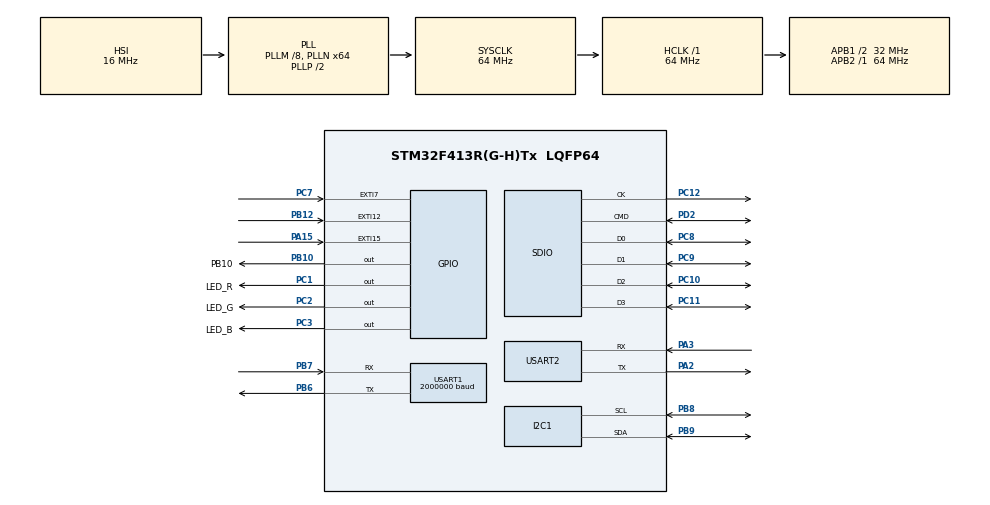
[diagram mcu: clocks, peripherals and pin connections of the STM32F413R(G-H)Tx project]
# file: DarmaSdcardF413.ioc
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Dma.Request0=USART1_RX
Dma.Request1=USART1_TX
Dma.Request2=SDIO_RX
Dma.Request3=SDIO_TX
Dma.Request4=USART2_RX
Dma.Request5=USART2_TX
Dma.SDIO_RX.2.Direction=DMA_PERIPH_TO_MEMORY
Dma.SDIO_RX.2.FIFOMode=DMA_FIFOMODE_ENABLE
Dma.SDIO_RX.2.FIFOThreshold=DMA_FIFO_THRESHOLD_FULL
Dma.SDIO_RX.2.Instance=DMA2_Stream3
Dma.SDIO_RX.2.MemBurst=DMA_MBURST_INC4
Dma.SDIO_RX.2.MemDataAlignment=DMA_MDATAALIGN_WORD
Dma.SDIO_RX.2.MemInc=DMA_MINC_ENABLE
Dma.SDIO_RX.2.Mode=DMA_PFCTRL
Dma.SDIO_RX.2.PeriphBurst=DMA_PBURST_INC4
Dma.SDIO_RX.2.PeriphDataAlignment=DMA_PDATAALIGN_WORD
Dma.SDIO_RX.2.PeriphInc=DMA_PINC_DISABLE
Dma.SDIO_RX.2.Priority=DMA_PRIORITY_LOW
Dma.SDIO_TX.3.Direction=DMA_MEMORY_TO_PERIPH
Dma.SDIO_TX.3.FIFOMode=DMA_FIFOMODE_ENABLE
Dma.SDIO_TX.3.FIFOThreshold=DMA_FIFO_THRESHOLD_FULL
Dma.SDIO_TX.3.Instance=DMA2_Stream6
Dma.SDIO_TX.3.MemBurst=DMA_MBURST_INC4
Dma.SDIO_TX.3.MemDataAlignment=DMA_MDATAALIGN_WORD
Dma.SDIO_TX.3.MemInc=DMA_MINC_ENABLE
Dma.SDIO_TX.3.Mode=DMA_PFCTRL
Dma.SDIO_TX.3.PeriphBurst=DMA_PBURST_INC4
Dma.SDIO_TX.3.PeriphDataAlignment=DMA_PDATAALIGN_WORD
Dma.SDIO_TX.3.PeriphInc=DMA_PINC_DISABLE
Dma.SDIO_TX.3.Priority=DMA_PRIORITY_LOW
Dma.USART1_RX.0.Direction=DMA_PERIPH_TO_MEMORY
Dma.USART1_RX.0.FIFOMode=DMA_FIFOMODE_DISABLE
Dma.USART1_RX.0.Instance=DMA2_Stream2
Dma.USART1_RX.0.MemDataAlignment=DMA_MDATAALIGN_BYTE
Dma.USART1_RX.0.MemInc=DMA_MINC_ENABLE
Dma.USART1_RX.0.Mode=DMA_CIRCULAR
Dma.USART1_RX.0.PeriphDataAlignment=DMA_PDATAALIGN_BYTE
Dma.USART1_RX.0.PeriphInc=DMA_PINC_DISABLE
Dma.USART1_RX.0.Priority=DMA_PRIORITY_VERY_HIGH
Dma.USART1_TX.1.Direction=DMA_MEMORY_TO_PERIPH
Dma.USART1_TX.1.FIFOMode=DMA_FIFOMODE_DISABLE
Dma.USART1_TX.1.Instance=DMA2_Stream7
Dma.USART1_TX.1.MemDataAlignment=DMA_MDATAALIGN_BYTE
Dma.USART1_TX.1.MemInc=DMA_MINC_ENABLE
Dma.USART1_TX.1.Mode=DMA_NORMAL
Dma.USART1_TX.1.PeriphDataAlignment=DMA_PDATAALIGN_BYTE
Dma.USART1_TX.1.PeriphInc=DMA_PINC_DISABLE
Dma.USART1_TX.1.Priority=DMA_PRIORITY_LOW
Dma.USART2_RX.4.Direction=DMA_PERIPH_TO_MEMORY
Dma.USART2_RX.4.FIFOMode=DMA_FIFOMODE_DISABLE
Dma.USART2_RX.4.Instance=DMA1_Stream5
Dma.USART2_RX.4.MemDataAlignment=DMA_MDATAALIGN_BYTE
Dma.USART2_RX.4.MemInc=DMA_MINC_ENABLE
Dma.USART2_RX.4.Mode=DMA_CIRCULAR
Dma.USART2_RX.4.PeriphDataAlignment=DMA_PDATAALIGN_BYTE
Dma.USART2_RX.4.PeriphInc=DMA_PINC_DISABLE
Dma.USART2_RX.4.Priority=DMA_PRIORITY_LOW
Dma.USART2_TX.5.Direction=DMA_MEMORY_TO_PERIPH
Dma.USART2_TX.5.FIFOMode=DMA_FIFOMODE_DISABLE
Dma.USART2_TX.5.Instance=DMA1_Stream6
Dma.USART2_TX.5.MemDataAlignment=DMA_MDATAALIGN_BYTE
Dma.USART2_TX.5.MemInc=DMA_MINC_ENABLE
Dma.USART2_TX.5.Mode=DMA_NORMAL
Dma.USART2_TX.5.PeriphDataAlignment=DMA_PDATAALIGN_BYTE
Dma.USART2_TX.5.PeriphInc=DMA_PINC_DISABLE
Dma.USART2_TX.5.Priority=DMA_PRIORITY_LOW
FATFS.USE_DMA_CODE_SD=1
FATFS._CODE_PAGE=936
FATFS._FS_EXFAT=1
FATFS._USE_CHMOD=1
FATFS._USE_EXPAND=1
FATFS._USE_FIND=1
FATFS._USE_LFN=2
Mcu.Family=STM32F4
Mcu.Name=STM32F413R(G-H)Tx
Mcu.Package=LQFP64
NVIC.DMA1_Stream5_IRQn=true\:0\:0\:false\:false\:true\:false
NVIC.DMA1_Stream6_IRQn=true\:0\:0\:false\:false\:true\:false
NVIC.DMA2_Stream2_IRQn=true\:0\:0\:false\:false\:true\:false
NVIC.DMA2_Stream3_IRQn=true\:0\:0\:false\:false\:true\:false
NVIC.DMA2_Stream6_IRQn=true\:0\:0\:false\:false\:true\:false
NVIC.DMA2_Stream7_IRQn=true\:0\:0\:false\:false\:true\:false
NVIC.EXTI15_10_IRQn=true\:0\:0\:false\:false\:true\:true
NVIC.EXTI9_5_IRQn=true\:0\:0\:false\:false\:true\:true
NVIC.PriorityGroup=NVIC_PRIORITYGROUP_4
NVIC.SDIO_IRQn=true\:0\:0\:false\:false\:true\:true
NVIC.TIM2_IRQn=true\:0\:0\:false\:false\:true\:true
NVIC.TIM3_IRQn=true\:0\:0\:false\:false\:true\:true
NVIC.USART1_IRQn=true\:0\:0\:false\:false\:true\:true
NVIC.USART2_IRQn=true\:0\:0\:false\:false\:true\:true
PA13.Signal=SYS_JTMS-SWDIO
PA14.Signal=SYS_JTCK-SWCLK
PA15.GPIO_ModeDefaultEXTI=GPIO_MODE_IT_RISING
PA15.GPIO_PuPd=GPIO_NOPULL
PA15.Signal=GPXTI15
PA2.Mode=Asynchronous
PA2.Signal=USART2_TX
PA3.Mode=Asynchronous
PA3.Signal=USART2_RX
PB10.GPIO_Label=PB10
PB10.GPIO_ModeDefaultOutputPP=GPIO_MODE_OUTPUT_PP
PB10.GPIO_PuPd=GPIO_PULLDOWN
PB10.GPIO_Speed=GPIO_SPEED_FREQ_LOW
PB10.PinState=GPIO_PIN_RESET
PB10.Signal=GPIO_Output
PB12.GPIO_ModeDefaultEXTI=GPIO_MODE_IT_RISING_FALLING
PB12.GPIO_PuPd=GPIO_PULLDOWN
PB12.Signal=GPXTI12
PB6.Mode=Asynchronous
PB6.Signal=USART1_TX
PB7.Mode=Asynchronous
PB7.Signal=USART1_RX
PB8.Mode=I2C
PB8.Signal=I2C1_SCL
PB9.Mode=I2C
PB9.Signal=I2C1_SDA
PC1.GPIO_Label=LED_R
PC1.GPIO_ModeDefaultOutputPP=GPIO_MODE_OUTPUT_PP
PC1.GPIO_PuPd=GPIO_NOPULL
PC1.GPIO_Speed=GPIO_SPEED_FREQ_LOW
PC1.PinState=GPIO_PIN_SET
PC1.Signal=GPIO_Output
PC10.GPIO_PuPd=GPIO_PULLUP
PC10.Mode=SD_4_bits_Wide_bus
PC10.Signal=SDIO_D2
PC11.GPIO_PuPd=GPIO_PULLUP
PC11.Mode=SD_4_bits_Wide_bus
PC11.Signal=SDIO_D3
PC12.GPIO_PuPd=GPIO_PULLUP
PC12.Mode=SD_4_bits_Wide_bus
PC12.Signal=SDIO_CK
PC2.GPIO_Label=LED_G
PC2.GPIO_ModeDefaultOutputPP=GPIO_MODE_OUTPUT_PP
PC2.GPIO_PuPd=GPIO_NOPULL
PC2.GPIO_Speed=GPIO_SPEED_FREQ_LOW
PC2.PinState=GPIO_PIN_SET
PC2.Signal=GPIO_Output
PC3.GPIO_Label=LED_B
PC3.GPIO_ModeDefaultOutputPP=GPIO_MODE_OUTPUT_PP
PC3.GPIO_PuPd=GPIO_NOPULL
PC3.GPIO_Speed=GPIO_SPEED_FREQ_LOW
PC3.PinState=GPIO_PIN_SET
PC3.Signal=GPIO_Output
PC7.GPIO_ModeDefaultEXTI=GPIO_MODE_IT_RISING
PC7.GPIO_PuPd=GPIO_NOPULL
PC7.Signal=GPXTI7
PC8.GPIO_PuPd=GPIO_PULLUP
PC8.Mode=SD_4_bits_Wide_bus
PC8.Signal=SDIO_D0
PC9.GPIO_PuPd=GPIO_PULLUP
PC9.Mode=SD_4_bits_Wide_bus
PC9.Signal=SDIO_D1
PD2.GPIO_PuPd=GPIO_PULLUP
PD2.Mode=SD_4_bits_Wide_bus
PD2.Signal=SDIO_CMD
ProjectManager.HeapSize=0x200
ProjectManager.StackSize=0x1000
ProjectManager.TargetToolchain=MDK-ARM V5
RCC.AHBFreq_Value=64000000
RCC.APB1CLKDivider=RCC_HCLK_DIV2
RCC.APB1Freq_Value=32000000
RCC.APB1TimFreq_Value=64000000
RCC.APB2Freq_Value=64000000
RCC.APB2TimFreq_Value=64000000
RCC.CortexFreq_Value=64000000
RCC.HCLKFreq_Value=64000000
RCC.PLLM=8
RCC.PLLN=64
RCC.PLLQ=4
RCC.SYSCLKFreq_VALUE=64000000
RCC.SYSCLKSource=RCC_SYSCLKSOURCE_PLLCLK
RCC.USBFreq_Value=32000000
RCC.VCOOutputFreq_Value=128000000
SDIO.ClockDiv=2
TIM2.Period=10-1
TIM2.Prescaler=6400-1
TIM3.Period=10000-1
TIM3.Prescaler=6400-1
USART1.BaudRate=2000000
USART1.VirtualMode=VM_ASYNC
USART2.VirtualMode=VM_ASYNC
VP_FATFS_VS_SDIO.Mode=SDIO
VP_RTC_VS_RTC_Activate.Mode=RTC_Enabled
VP_TIM2_VS_ClockSourceINT.Mode=Internal
VP_TIM3_VS_ClockSourceINT.Mode=Internal
board=custom

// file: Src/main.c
/* USER CODE BEGIN Header */
/**
  ******************************************************************************
  * @file           : main.c
  * @brief          : Main program body
  ******************************************************************************
  * This notice applies to any and all portions of this file
  * that are not between comment pairs USER CODE BEGIN and
  * USER CODE END. Other portions of this file, whether
  * inserted by the user or by software development tools
  * are owned by their respective copyright owners.
  *
  * Copyright (c) 2018 STMicroelectronics International N.V.
  * All rights reserved.
  *
  * Redistribution and use in source and binary forms, with or without
  * modification, are permitted, provided that the following conditions are met:
  *
  * 1. Redistribution of source code must retain the above copyright notice,
  *    this list of conditions and the following disclaimer.
  * 2. Redistributions in binary form must reproduce the above copyright notice,
  *    this list of conditions and the following disclaimer in the documentation
  *    and/or other materials provided with the distribution.
  * 3. Neither the name of STMicroelectronics nor the names of other
  *    contributors to this software may be used to endorse or promote products
  *    derived from this software without specific written permission.
  * 4. This software, including modifications and/or derivative works of this
  *    software, must execute solely and exclusively on microcontroller or
  *    microprocessor devices manufactured by or for STMicroelectronics.
  * 5. Redistribution and use of this software other than as permitted under
  *    this license is void and will automatically terminate your rights under
  *    this license.
  *
  * THIS SOFTWARE IS PROVIDED BY STMICROELECTRONICS AND CONTRIBUTORS "AS IS"
  * AND ANY EXPRESS, IMPLIED OR STATUTORY WARRANTIES, INCLUDING, BUT NOT
  * LIMITED TO, THE IMPLIED WARRANTIES OF MERCHANTABILITY, FITNESS FOR A
  * PARTICULAR PURPOSE AND NON-INFRINGEMENT OF THIRD PARTY INTELLECTUAL PROPERTY
  * RIGHTS ARE DISCLAIMED TO THE FULLEST EXTENT PERMITTED BY LAW. IN NO EVENT
  * SHALL STMICROELECTRONICS OR CONTRIBUTORS BE LIABLE FOR ANY DIRECT, INDIRECT,
  * INCIDENTAL, SPECIAL, EXEMPLARY, OR CONSEQUENTIAL DAMAGES (INCLUDING, BUT NOT
  * LIMITED TO, PROCUREMENT OF SUBSTITUTE GOODS OR SERVICES; LOSS OF USE, DATA,
  * OR PROFITS; OR BUSINESS INTERRUPTION) HOWEVER CAUSED AND ON ANY THEORY OF
  * LIABILITY, WHETHER IN CONTRACT, STRICT LIABILITY, OR TORT (INCLUDING
  * NEGLIGENCE OR OTHERWISE) ARISING IN ANY WAY OUT OF THE USE OF THIS SOFTWARE,
  * EVEN IF ADVISED OF THE POSSIBILITY OF SUCH DAMAGE.
  *
  ******************************************************************************
  */
/* USER CODE END Header */

#include "main.h"
#include "dma.h"
#include "fatfs.h"
#include "i2c.h"
#include "rtc.h"
#include "sdio.h"
#include "tim.h"
#include "usart.h"
#include "gpio.h"

/* USER CODE BEGIN Includes */
#include <string.h>

/* USER CODE END Includes */

/* USER CODE BEGIN PV */
#define __DEBUG 1
#define SAVE_FILE_TIME 300 //seconds
#define PKT_LEN_CACHE 1024
#define PKT_LEN_DATA 60
#define PKT_LEN_PARA 14
#define MAX_PKT_SIZE 60
#define MAX_BUF_SIZE 1024
//rtc
#define BufferSize 30
#define ADDR_1338RTC_Write 0xD0
#define ADDR_1338RTC_Read 0xD1
uint8_t ReadTime[BufferSize];

FATFS fs;
FIL file;
FRESULT f_res;
UINT fnum;

HAL_SD_CardStateTypedef state;
HAL_SD_CardCIDTypeDef SD_CardCID;

uint8_t g_cache_buf[60];
uint16_t g_cache_len;
uint16_t g_pkt_len;
uint16_t g_ms_cnt;
uint8_t g_fopen_flag;
uint8_t g_data_ready;
uint8_t g_sync_ready;
uint8_t g_sync_buf[30];
uint8_t g_stop_sdcard;
uint32_t g_err_cnt;
uint8_t g_curr_year, g_curr_month, g_curr_date, g_curr_week, g_curr_hour, g_curr_minute, g_curr_second;
uint8_t g_prev_year, g_prev_month, g_prev_date, g_prev_week, g_prev_hour, g_prev_minute, g_prev_second;
uint8_t g_dev_id;
uint32_t g_cnt;
uint8_t g_reset_dma;
uint8_t g_have_data;
uint32_t g_wait_cnt;
uint32_t g_reset_cnt;
uint32_t g_sec_cnt;
uint8_t g_test_flag;
uint32_t g_time_seq;
uint16_t g_seq;
uint8_t g_sdcard_ok;
uint8_t g_parse_flag;
uint8_t g_umount_flag;
uint32_t gg_cnt;
uint16_t g_file_cnt;
uint8_t g_need_reboot;
uint8_t g_need_synctime;
uint8_t g_pin12_flag;
uint16_t g_pin12_cnt;
uint8_t g_system_reboot;
uint8_t g_prev_sdcard;
uint8_t g_curr_sdcard;
uint8_t g_start_mount;
uint8_t g_mount_cnt;
uint8_t g_sdcard_full;
uint8_t g_start_cache;
uint8_t g_on_bed;
uint8_t g_cache_overflow;
uint8_t g_need_close_file;
uint8_t g_dma_full;

RTC_DateTypeDef sdatestructure;
RTC_TimeTypeDef stimestructure;

//struct darmaCache
//{
//	unsigned char buf[MAX_BUF_SIZE+256];
//	unsigned int  data_len;
//};
//struct darmaCache g_cache;
#define FAT_LEN 1024
uint32_t FAT_BUF[FAT_LEN];

//stonemm
#define PKT_LENGTH	512
uint8_t g_pkt_buf[PKT_LENGTH];
uint8_t g_pkt_buf2[PKT_LENGTH];
#define CACHE_SIZE	600
typedef struct
{
    unsigned char buf[PKT_LENGTH];
    unsigned int	len;
    unsigned int	status; //0-no data, 1-have data
}tDATA_CACHE;
tDATA_CACHE s_cache[CACHE_SIZE];// l_cache[CACHE_SIZE];

unsigned int w_index=0;
unsigned int r_index=0;
unsigned int lw_index=0; //lost write
unsigned int lr_index=0; //lost read
unsigned int g_lost_pkt=0;
unsigned int g_lost_flag=0;
unsigned int crc_fail=0, crc_pass=0, cnt_error=0;

/* USER CODE END PV */

void SystemClock_Config(void);
/* USER CODE BEGIN PFP */
static void printf_fatfs_error(FRESULT fresult);

/* USER CODE END PFP */

/* USER CODE BEGIN 0 */
#if 1
void sendDataTo_device(UART_HandleTypeDef *huart, uint8_t *buf, uint16_t len)
{
	for(uint16_t i=0;i<len;i++)
	{
		while((huart->Instance->SR & UART_FLAG_TC)==0);//循环发送,直到发送完毕
		huart->Instance->DR = buf[i];
	}
}

//LED灯控制代码
#define LED_NUM 3
#define RED_LED	0
#define GREEN_LED 1
#define BLUE_LED 2
#define NO_FLASH 99
#define _FLASH 1
#define _BRIGHT 2
#define LED_FLASH_FREQ 500 //闪烁的频率,500ms
extern GPIO_TypeDef* LED_PORT[];
extern uint16_t LED_PIN[];
uint8_t g_led_flash;
uint16_t g_led_freq;
void LedControl(int n, int status)
{
//	HAL_GPIO_WritePin(LED_R_GPIO_Port, LED_R_Pin, GPIO_PIN_SET);
//	HAL_GPIO_WritePin(LED_G_GPIO_Port, LED_G_Pin, GPIO_PIN_SET);
//	HAL_GPIO_WritePin(LED_B_GPIO_Port, LED_B_Pin, GPIO_PIN_SET);

	//先关掉所有LED灯,关掉所有闪烁
	for(uint8_t i=0; i<LED_NUM; i++)
	{
		HAL_GPIO_WritePin(LED_PORT[i], LED_PIN[i], GPIO_PIN_SET);
	}
	g_led_flash = NO_FLASH;

	//如果是常亮
	if(status == _BRIGHT)
	{
		HAL_GPIO_WritePin(LED_PORT[n], LED_PIN[n], GPIO_PIN_RESET);
	}
	//如果是闪烁
	else if(status == _FLASH)
	{
		g_led_flash = n;
	}
}
void LedFlash(int n)
{
	HAL_GPIO_TogglePin(LED_PORT[n], LED_PIN[n]);
}

void SendStopPkt()
{
	uint8_t buf[1]={0xfe};
	sendDataTo_device(&huart1, buf, 1);
}

void SendStartPkt()
{
	//printf("send 0xff\r\n");
	uint8_t buf[1]={0xff};
	sendDataTo_device(&huart1, buf, 1);
}

void SystemReboot()
{
	HAL_NVIC_SystemReset();
}

static void printf_fatfs_error(FRESULT fresult)
{
	LedControl(RED_LED, _FLASH);
  switch(fresult)
  {
    case FR_OK:                   //(0)
			printf("FR_OK\r\n");
    break;
    case FR_DISK_ERR:             //(1)
			printf("FR_DISK_ERR\r\n");
    break;
    case FR_INT_ERR:              //(2)
			printf("FR_INT_ERR\r\n");
    break;
    case FR_NOT_READY:            //(3)
			printf("FR_NOT_READY\r\n");
    break;
    case FR_NO_FILE:              //(4)
			printf("FR_NO_FILE\r\n");
    break;
    case FR_NO_PATH:              //(5)
			printf("FR_NO_PATH\r\n");
    break;
    case FR_INVALID_NAME:         //(6)
			printf("FR_INVALID_NAME\r\n");
    break;
    case FR_DENIED:               //(7)
    case FR_EXIST:                //(8)
			printf("FR_EXIST\r\n");
    break;
    case FR_INVALID_OBJECT:       //(9)
			printf("FR_INVALID_OBJECT\r\n");
    break;
    case FR_WRITE_PROTECTED:      //(10)
			printf("FR_WRITE_PROTECTED\r\n");
    break;
    case FR_INVALID_DRIVE:        //(11)
			printf("FR_INVALID_DRIVE\r\n");
    break;
    case FR_NOT_ENABLED:          //(12)
			printf("FR_NOT_ENABLED\r\n");
    break;
    case FR_NO_FILESYSTEM:        //(13)
			printf("FR_NO_FILESYSTEM\r\n");
    break;
    case FR_MKFS_ABORTED:         //(14)
			printf("FR_MKFS_ABORTED\r\n");
    break;
    case FR_TIMEOUT:              //(15)
			printf("FR_TIMEOUT\r\n");
    break;
    case FR_LOCKED:               //(16)
			printf("FR_LOCKED\r\n");
    break;
    case FR_NOT_ENOUGH_CORE:      //(17)
			printf("FR_NOT_ENOUGH_CORE\r\n");
    break;
    case FR_TOO_MANY_OPEN_FILES:  //(18)
			printf("FR_TOO_MANY_OPEN_FILES\r\n");
    break;
    case FR_INVALID_PARAMETER:    // (19)
			printf("FR_INVALID_PARAMETER\r\n");
    break;
  }
}

int CheckFreeSpace()
{
	//printf("get free size\r\n");
	FATFS *pfs;
	DWORD fre_clust;
	uint64_t TOT_SIZE, FRE_SIZE;
	f_res = f_getfree("0:", &fre_clust, &pfs);
	if(f_res == FR_OK)
	{
		TOT_SIZE = (pfs->n_fatent - 2) * pfs->csize/2; //KB
		FRE_SIZE = fre_clust * pfs->csize/2; //KB
		printf("TOT_SIZE: %llu\r\n", TOT_SIZE);
		printf("FRE_SIZE: %llu\r\n", FRE_SIZE);
		if(FRE_SIZE < 100*1000)//100M
		//if(FRE_SIZE < 50732670)//100M
		{
			g_sdcard_full = 1;
			return 0;
		}
		else
			g_sdcard_full = 0;
	}

	return 1;
}

void ActiveLowGpio()
{
//	HAL_GPIO_WritePin(PA0_GPIO_Port, PA0_Pin, GPIO_PIN_RESET); //notify spo2 board send data
}

//获取系统RTC时间，不是硬件读，速度快
void GetCurrentTime()
{
	if(__DEBUG) printf("GetCurrentTime()\r\n");
	/* Get the RTC current Time ,must get time first*/
	HAL_RTC_GetTime(&hrtc, &stimestructure, RTC_FORMAT_BIN);
	/* Get the RTC current Date */
	HAL_RTC_GetDate(&hrtc, &sdatestructure, RTC_FORMAT_BIN);

	g_curr_year = sdatestructure.Year;
	g_curr_month = sdatestructure.Month;
	g_curr_date = sdatestructure.Date;
	g_curr_week = sdatestructure.WeekDay;
	g_curr_hour = stimestructure.Hours;
	g_curr_minute = stimestructure.Minutes;
	g_curr_second = stimestructure.Seconds;

	if(__DEBUG) printf("HAL TIME:");
	/* Display date Format : yy/mm/dd */
	if(__DEBUG) printf("%02d/%02d/%02d ",2000 + sdatestructure.Year, sdatestructure.Month, sdatestructure.Date);
	/* Display time Format : hh:mm:ss */
	if(__DEBUG) printf("%02d:%02d:%02d\r\n",stimestructure.Hours, stimestructure.Minutes, stimestructure.Seconds);
}

//获取硬件时间
void GetRtcTime()
{
	int rtc_retry;

	//HAL_I2C_Mem_Read(&hi2c1, ADDR_1338RTC_Read, 0, I2C_MEMADD_SIZE_8BIT, ReadTime, 8, 1000);
	rtc_retry = 0;
	while(HAL_I2C_Mem_Read(&hi2c1, ADDR_1338RTC_Read, 0, I2C_MEMADD_SIZE_8BIT, ReadTime, 8, 1000) != HAL_OK)
	{
		rtc_retry++;
		printf("read RTC error, retry %d\r\n", rtc_retry);
		if(rtc_retry > 4)
		{
			printf("read RTC retry > 4, use default time\r\n");
			return;
		}
		HAL_Delay(1000);
	}

	sdatestructure.Year = ReadTime[6];
	sdatestructure.Month = ReadTime[5];
	sdatestructure.Date = ReadTime[4];
	sdatestructure.WeekDay = ReadTime[3];
	stimestructure.Hours = ReadTime[2];
	stimestructure.Minutes = ReadTime[1];
	stimestructure.Seconds = ReadTime[0];

	//把时间设置到系统中
	HAL_RTC_SetDate(&hrtc, &sdatestructure, RTC_FORMAT_BCD);
	HAL_RTC_SetTime(&hrtc, &stimestructure, RTC_FORMAT_BCD);

	g_curr_year=(ReadTime[6]>>4)*10+(ReadTime[6]&0x0f);
	g_curr_month=(ReadTime[5]>>4)*10+(ReadTime[5]&0x0f);
	g_curr_date=(ReadTime[4]>>4)*10+(ReadTime[4]&0x0f);
	g_curr_week=(ReadTime[3]&0x07);
	g_curr_hour=(ReadTime[2]>>4)*10+(ReadTime[2]&0x0f);
	g_curr_minute=(ReadTime[1]>>4)*10+(ReadTime[1]&0x0f);
	g_curr_second=(ReadTime[0]>>4)*10+(ReadTime[0]&0x0f);
}

//直接获取硬件时间
void GetRtcTime2()
{
	uint8_t fail_cnt=0;

	if(__DEBUG) printf("GetRtcTime2()\r\n");

	while(1)
	{
		if(HAL_I2C_Mem_Read(&hi2c1, ADDR_1338RTC_Read, 0, I2C_MEMADD_SIZE_8BIT, ReadTime, 8, 1000) == HAL_OK)
		{
			if(__DEBUG) printf("read RTC time success!\r\n");
			g_curr_year=(ReadTime[6]>>4)*10+(ReadTime[6]&0x0f);
			g_curr_month=(ReadTime[5]>>4)*10+(ReadTime[5]&0x0f);
			g_curr_date=(ReadTime[4]>>4)*10+(ReadTime[4]&0x0f);
			g_curr_week=(ReadTime[3]&0x07);
			g_curr_hour=(ReadTime[2]>>4)*10+(ReadTime[2]&0x0f);
			g_curr_minute=(ReadTime[1]>>4)*10+(ReadTime[1]&0x0f);
			g_curr_second=(ReadTime[0]>>4)*10+(ReadTime[0]&0x0f);
			break;
		}
		else
		{
			fail_cnt++;
			if(__DEBUG) printf("read RTC time fail %d\r\n", fail_cnt);
			if(fail_cnt > 5)
			{
				if(__DEBUG) printf("RTC fail 5, set dft 2000\r\n");
				break;
			}
		}
	}
}

void DisplayTime()
{
	printf("RTC TIME: 20%02d/%02d/%02d %02d:%02d:%02d\r\n",g_curr_year,g_curr_month,g_curr_date,g_curr_hour,g_curr_minute,g_curr_second);
}

int CreateNewFile()
{
	int retry_cnt=0;
	char dir_id[10];
	char dir_date[20];
	char dir_hour[20];
	char file_path[100];
	uint8_t l_curr_year, l_curr_month, l_curr_date, l_curr_week, l_curr_hour, l_curr_minute, l_curr_second;
	DIR dp;

	l_curr_year = g_curr_year;
	l_curr_month = g_curr_month;
	l_curr_date = g_curr_date;
	l_curr_week = g_curr_week;
	l_curr_hour = g_curr_hour;
	l_curr_minute = g_curr_minute;
	l_curr_second = g_curr_second;
	//if(__DEBUG)
	printf("CreateNewFile() 20%02d/%02d/%02d %02d:%02d:%02d\r\n", l_curr_year, l_curr_month, l_curr_date, l_curr_hour, l_curr_minute, l_curr_second);
	memset(dir_id, 0, sizeof(dir_id));
	memset(dir_date, 0, sizeof(dir_date));
	memset(dir_hour, 0, sizeof(dir_hour));

	//用设备ID创建第一层目录
	sprintf(dir_id, "%d", g_dev_id);
	f_res = f_opendir(&dp, dir_id);
	if(f_res != FR_OK)
	{
		printf("create folder %s\r\n", dir_id);
		f_mkdir(dir_id);
	}
	else
	{
		printf("folder %s exist!\r\n", dir_id);
	}
	f_closedir(&dp);

	//用年月日创建第二层目录
	sprintf(dir_date, "%s/20%02d%02d%02d", dir_id, l_curr_year, l_curr_month, l_curr_date);
	f_res = f_opendir(&dp, dir_date);
	if(f_res != FR_OK)
	{
		printf("create folder %s\r\n", dir_date);
		f_mkdir(dir_date);
	}
	else
	{
		printf("folder %s exist!\r\n", dir_date);
	}
	f_closedir(&dp);

	//用小时创建第三层目录
	sprintf(dir_hour, "%s/%02d", dir_date, l_curr_hour);
	f_res = f_opendir(&dp, dir_hour);
	if(f_res != FR_OK)
	{
		printf("create folder %s\r\n", dir_hour);
		f_mkdir(dir_hour);
	}
	else
	{
		printf("folder %s exist!\r\n", dir_hour);
	}
	f_closedir(&dp);

	//建立文件,格式raw-data-dev_id-yyyymmddhhmm
	retry_cnt = 0;
	sprintf(file_path, "%s/raw-data-%d-20%02d-%02d%02d-%02d%02d%02d.dat", dir_hour, g_dev_id, l_curr_year, l_curr_month, l_curr_date, l_curr_hour, l_curr_minute, l_curr_second);
	do
	{
		f_res = f_open(&file, file_path, FA_OPEN_ALWAYS | FA_WRITE );   //在文件夹下创建文件
		retry_cnt++;
		if(retry_cnt > 10)
		{
			printf("create file %s fail > 5\r\n", file_path);
			printf_fatfs_error(f_res);
			SystemReboot();
		}
		if(f_res != FR_OK)
			HAL_Delay(1);
//		else
//		{
//			if(__DEBUG) printf("create file %s ok\r\n", file_path);
//		}
	}while(f_res != FR_OK);
	g_file_cnt++;
	if(__DEBUG) printf("create file %s ok, g_file_cnt:%d\r\n", file_path, g_file_cnt);

	g_fopen_flag = 1;

	return 0;
}

void SaveDataToFile()
{

	f_res = f_write(&file, s_cache[r_index].buf, PKT_LENGTH, &fnum);
	if(f_res != FR_OK)
	{
		g_err_cnt++;
		printf("write file error, %d\r\n", g_err_cnt);
		printf_fatfs_error(f_res);
		if(g_err_cnt > 1)
		SystemReboot();
	}
	else
	{
		//if(__DEBUG) printf("write %d bytes ok, %d\r\n\r\n", fnum, gg_cnt++);
		if(fnum != PKT_LENGTH)
		{
			printf("write %d bytes\r\n", fnum);
			g_err_cnt++;
			printf_fatfs_error(f_res);
			if(g_err_cnt > 1)
				SystemReboot();
		}
	}

}

//可以从DEBUG口从上位机发送命令下来设置时间,BCD格式
//命令格式： FD A6 LEN CMD DEV_ID PKT_SIZE YEAR MONTH DATE WEEK HOUR MINUTE SECOND 0XFF, 都是一个字节
//           FD A6 0E 03 63 3C 18 06 27 03 11 47 00 FF -> 2018-06-27 week 3 11:47:00
// command 03:  校准时间
// command 04:  卸载SD卡
// command 05:  格式化SD卡
void ParsePara()
{
	//参数包，包括dev_id, pkt_len, date/time

	//CMD 03, 设置时间
	if(g_sync_buf[0]==0xFD &&
		 g_sync_buf[1]==0xA6 &&
		 g_sync_buf[2]==PKT_LEN_PARA && //LENGTH
		 g_sync_buf[3]==0x03 && //CMD 03
		 g_sync_buf[13]==0xFF)
	{
		uint8_t sync_time[10];
		//g_dev_id = g_pkt_buf[4];
		//g_pkt_len = g_pkt_buf[5];
		sync_time[6] = sdatestructure.Year = g_sync_buf[6];
		sync_time[5] = sdatestructure.Month = g_sync_buf[7];
		sync_time[4] = sdatestructure.Date = g_sync_buf[8];
		sync_time[3] = sdatestructure.WeekDay = g_sync_buf[9];
		sync_time[2] = stimestructure.Hours = g_sync_buf[10];
		sync_time[1] = stimestructure.Minutes = g_sync_buf[11];
		sync_time[0] = stimestructure.Seconds = g_sync_buf[12];
		sync_time[7] = 0xb3;

		//把时间设置到外部RTC中保存
		if(HAL_I2C_Mem_Write(&hi2c1, ADDR_1338RTC_Write, 0, I2C_MEMADD_SIZE_8BIT, sync_time, 8, 0x10) != HAL_OK)
		{
			printf("save RTC time fail\r\n");
		}
		else
		{
			printf("save RTC time ok\r\n");
		}

		//把时间设置到系统中
		HAL_RTC_SetDate(&hrtc, &sdatestructure, RTC_FORMAT_BCD);
		HAL_RTC_SetTime(&hrtc, &stimestructure, RTC_FORMAT_BCD);
		memset(g_sync_buf, 0, sizeof(g_sync_buf));

		//检验RTC时间是否写入正确
		printf("check the date/time\r\n");
		GetRtcTime2();
		DisplayTime();
	}
	//else
	//	printf("时间格式不正确\r\n");

	// CMD : 04, 卸载SD卡
	if(g_sync_buf[0]==0xFD &&
		 g_sync_buf[1]==0xA6 &&
		 g_sync_buf[2]==PKT_LEN_PARA && //LENGTH
		 g_sync_buf[3]==0x04 && //CMD 04
		 g_sync_buf[13]==0xFF)
	{
		printf("Unmount sdcard\r\n");
		//SendStopPkt(); //给1299发停止报文
		LedControl(BLUE_LED, _BRIGHT); //点亮蓝灯
		g_umount_flag = 1;
		g_sdcard_ok = 0;
	}

	// CMD : 05, 格式化SD卡
	if(g_sync_buf[0]==0xFD &&
		 g_sync_buf[1]==0xA6 &&
		 g_sync_buf[2]==PKT_LEN_PARA && //LENGTH
		 g_sync_buf[3]==0x05 && //CMD 05
		 g_sync_buf[13]==0xFF)
	{
		printf("》即将进行格式化...\r\n");
		//SendStopPkt(); //给1299发停止报文
		//LedControl(RED_LED, _BRIGHT); //点亮红灯
		//g_umount_flag = 1;
		//g_stop_sdcard = 1;
		f_res=f_mkfs("0:",0,0,FAT_BUF, FAT_LEN);	  //格式化
		if(f_res == FR_OK)
		{
			printf("》串行FLASH已成功格式化文件系统。\r\n");
			f_res = f_mount(NULL,"0:",1);    // 格式化后，先取消挂载
			HAL_Delay(1000);
			SystemReboot();
		}
		else
		{
			printf("《《格式化失败。》》\r\n");
		}
	}
}

void UnMountSDcard()
{
	if(g_fopen_flag)
	{
		g_fopen_flag = 0;
		f_res = f_close(&file);
		if(f_res == FR_OK)
		{
			printf("f_close file success!\r\n");
		}
		else
		{
			printf("f_close file fail!\r\n");
		}
	}

	g_sdcard_ok = 0;
	f_res = f_mount(NULL,"0:",1);
	if(f_res == FR_OK)
	{
		printf("UnMount sdcard success!\r\n");
	}
	else
	{
		printf("UnMount sdcard fail!\r\n");
	}

	memset(s_cache, 0, sizeof(s_cache));
	r_index = 0;
	w_index = 0;

	LedControl(RED_LED, _BRIGHT); //点亮红灯
}

//挂载SD卡
uint8_t MountSDcard()
{
	uint8_t retry_mnt=0;

	state = HAL_SD_GetCardState(&hsd);
	//printf("state=%d\r\n", state);
	if(state == HAL_SD_CARD_TRANSFER)
	{
		HAL_SD_GetCardCID(&hsd, &SD_CardCID);
		printf("Initialize SD Card successfully!\r\n");
		printf("SD card infomation\r\n");
		printf("CardCapacity     : %llu\r\n", (QWORD)hsd.SdCard.BlockSize*hsd.SdCard.BlockNbr);
		printf("CardBlockSize    : %d\r\n", hsd.SdCard.BlockSize);
		printf("RCA              : %d\r\n", hsd.SdCard.RelCardAdd);
		printf("CardType         : %d\r\n", hsd.SdCard.CardType);
		printf("ManufacturerID   : %d\r\n", SD_CardCID.ManufacturerID);
	}
	else
	{
		printf("No SDCard !!!\r\n");
		//HAL_Delay(1000);
		//SystemReboot();
		return 0;
	}

	printf("》检测到SDCARD,尝试挂载\r\n");

	retry_mnt = 0;
	while(1)
	{
		//HAL_Delay(2000);
		g_start_mount = 1;
		f_res = f_mount(&fs,"0:",1); 					//挂载SD卡
		//printf("f_res=%d\r\n", f_res);
		if(f_res == FR_NO_FILESYSTEM)
		{
			retry_mnt++;
			printf("》串行FLASH还没有文件系统，尝试 %d 次\r\n", retry_mnt);
			if(retry_mnt > 0)
			{
				retry_mnt = 0;
				printf("》即将进行格式化...\r\n");
				g_start_mount = 0;

				f_res=f_mkfs("0:",0,0, FAT_BUF, FAT_LEN);	  //格式化

				if(f_res == FR_OK)
				{
					printf("》串行FLASH已成功格式化文件系统。\r\n");
					f_res = f_mount(NULL,"0:",1);    // 格式化后，先取消挂载
				}
				else
				{
					printf("《《格式化失败。》》\r\n");
				}
				SystemReboot();
			}
		}
		else if(f_res != FR_OK)
		{
			printf("！！串行FLASH挂载文件系统失败。(%d)\r\n",f_res);
			//HAL_Delay(3000);
			SystemReboot();
			//while(1);
		}
		else
		{
			printf("》文件系统挂载成功，可以进行读写测试  \r\n");
			g_start_mount = 0;
			g_mount_cnt = 0;
			//g_sdcard_ok = 1;
			return 1;
		}
	}

	return 0;
}

//判断UART1缓存中的数据是不是一帧合法数据
uint8_t ParseData(uint8_t *buf, uint16_t len)
{
	uint8_t *p;
	uint16_t lenth;

	p = buf;
	for(uint16_t i=0; i<len-60; i++)
	{
		//stonemm
#if 1
		if(*p==0xfd && *(p+1)==0xa6 && *(p+2)!=0)
		{
			lenth = *(p+2);
			g_dev_id = *(p+lenth-7);
			break;
		}
		else
			p++;
#else
		//is git test
		if(*p==0xfd && *(p+1)==0xa6 && *(p+PKT_LENGTH-1)==*(p+PKT_LENGTH-3) && *(p+PKT_LENGTH-2)==*(p+PKT_LENGTH-4))
		{
			g_dev_id = *(p+PKT_LENGTH-7);
			break;
		}
		else
			p++;
#endif
	}

	if(g_dev_id!=0 && g_dev_id!=255)
	{
		//if(__DEBUG)
		printf("g_dev_id=%d\r\n", g_dev_id);
		return 0;
	}
	else
	{
		printf("parse dev_id fail\r\n");
	}

	return 1;
}

//保存数据
void SaveData()
{
	if(g_fopen_flag)
	{
		if(g_sec_cnt > SAVE_FILE_TIME)
		{
			//HAL_GPIO_WritePin(LED_R_GPIO_Port, LED_R_Pin, GPIO_PIN_RESET);
			//ParseData(s_cache[r_index].buf, 600);
			g_sec_cnt = 0;
			uint8_t retry_cnt=0;
			do
			{
				f_res = f_close(&file);
				if(f_res != FR_OK)
				{
					printf_fatfs_error(f_res);
					retry_cnt++;
					if(retry_cnt > 10)
					{
						printf("f_close file error > 10\r\n");
						break;
					}
					HAL_Delay(1);
				}
				else
				{
					printf("f_close ok!\r\n");
				}
			}while(f_res != FR_OK);
			g_fopen_flag = 0;
		}
		else
			goto __save;
	}
	GetRtcTime2();
	if(CheckFreeSpace() == 1)
	{
		CreateNewFile();
	}
	else
	{
		//SendStopPkt();
		printf("sdcard full\r\n");
		LedControl(BLUE_LED, _FLASH);
		g_umount_flag = 1;
		return;
	}
__save:
	SaveDataToFile();
			//HAL_GPIO_WritePin(LED_R_GPIO_Port, LED_R_Pin, GPIO_PIN_SET);
}

#endif
/* USER CODE END 0 */

int main(void)
{
  /* USER CODE BEGIN 1 */
	uint8_t ret;

  /* USER CODE END 1 */

  /* MCU Configuration--------------------------------------------------------*/

  /* Reset of all peripherals, Initializes the Flash interface and the Systick. */
  HAL_Init();

  /* Configure the system clock */
  SystemClock_Config();

  /* Initialize all configured peripherals */
  MX_GPIO_Init();
  MX_DMA_Init();
  MX_TIM2_Init();
  MX_TIM3_Init();
  MX_I2C1_Init();
  MX_SDIO_SD_Init();
  MX_USART1_UART_Init();
  MX_USART2_UART_Init();
  MX_RTC_Init();
  MX_FATFS_Init();
  /* USER CODE BEGIN 2 */

	//初始化定时器
	HAL_TIM_Base_Start_IT(&htim2); //1ms timer
	HAL_TIM_Base_Start_IT(&htim3); //1s timer

	//初始化串口接收
	//HAL_UART_Receive_DMA(&huart1, (uint8_t *)g_cache_buf, 1);
	HAL_UART_Receive_DMA(&huart2, (uint8_t *)g_sync_buf, PKT_LEN_PARA);

	printf("STM32F413RGT6 sdcard version v1.0.2 start\r\n");

	//读取RTC时间并设置到系统中
	GetRtcTime();
	DisplayTime();

	//LOW PB10
	HAL_GPIO_WritePin(PB10_GPIO_Port, PB10_Pin, GPIO_PIN_RESET);

#if 0
	/*## Initilise SD card hardware #################################*/
	uint8_t mr = BSP_SD_Init();
	if(mr != 0)
	{
		printf("BSP_SD_Init fail!\r\n");
		while(1);
	}
	else
		printf("mr=%d\r\n", mr);

	/*## Mount file system of the Initilised SD card #################################*/
	FRESULT fr = f_mount(&SDFatFS, (TCHAR const*)SDPath, 1);
	if(fr != FR_OK){
			//turn off SD
	printf("...3\r\n");
			while(1);
	}
	printf("f_mount=%d\r\n", fr);
	/*## Open and create a text file #################################*/
	printf("...4\r\n");
	fr = f_open(&SDFile, "BoomLvL.txt", FA_WRITE | FA_CREATE_ALWAYS);
	if (fr != FR_OK){
	printf("...5\r\n");
			while(1);
	}
	printf("...6\r\n");
	char data[] = "Verion2_dma\n\0";
	UINT written;
	UINT len = (UINT)strlen(data);
	/*## Write data to the text file ################################*/
	fr = f_write(&SDFile, &data[0],len, &written);
	if (fr != FR_OK || written != len) {
	printf("...7\r\n");
			while(1);
	}
	printf("...8\r\n");
	/*## Close the open text file #################################*/
	fr = f_close(&SDFile);
	printf("f_close=%d\r\n", fr);
	while(1){};
#else
	uint8_t mr = BSP_SD_Init();
	if(mr == 0)
	{
		printf("SDCARD init ok\r\n");
	}
//	HAL_SD_Init(&hsd);
//	if(HAL_SD_ConfigWideBusOperation(&hsd, SDIO_BUS_WIDE_4B) != HAL_OK)
//	{
//		printf("config 4bus fail\r\n");
//	}

//	//test
//	state = HAL_SD_GetCardState(&hsd);
//	printf("state=%d\r\n", state);
//	if(state == HAL_SD_CARD_TRANSFER)
//	{
//		HAL_SD_GetCardCID(&hsd, &SD_CardCID);
//		printf("Initialize SD Card successfully!\r\n");
//		printf("SD card infomation\r\n");
//		printf("CardCapacity     : %llu\r\n", (QWORD)hsd.SdCard.BlockSize*hsd.SdCard.BlockNbr);
//		printf("CardBlockSize    : %d\r\n", hsd.SdCard.BlockSize);
//		printf("RCA              : %d\r\n", hsd.SdCard.RelCardAdd);
//		printf("CardType         : %d\r\n", hsd.SdCard.CardType);
//		printf("ManufacturerID   : %d\r\n", SD_CardCID.ManufacturerID);
//	}
//	else
//	{
//		printf("no SDCard !!!\r\n");
//		//HAL_Delay(1000);
//		//SystemRebooet();
//	}

//	f_res = f_mount(&fs,"0:",1); 					//挂载SD卡
//	printf("f_mount=%d\r\n", f_res);
//	f_res = f_open(&file, "1.txt", FA_OPEN_ALWAYS | FA_WRITE );
//	printf("f_open=%d\r\n", f_res);
//	f_close(&file);
//	f_res = f_mkdir("163");
//	printf("f_mkdir=%d\r\n", f_res);

//	while(1){};
#endif

//  if(FATFS_LinkDriver(&SD_Driver, "0:") == 0)
//  {
//		printf("start mount\r\n");
//    /*##-2- Register the file system object to the FatFs module ##############*/
//    if(f_mount(&fs, "0:", 1) != FR_OK)
//    {
//      /* FatFs Initialization Error */
//      //Error_Handler();
//			printf("error\r\n");
//    }
//    else
//    {
//			printf("ok\r\n");
//		}
//	}
//	else
//	{
//		printf("link error\r\n");
//	}

	//变量初始化
	g_pkt_len = 0;
	g_fopen_flag = 0;
	g_data_ready = 0;
	g_err_cnt = 0;
	g_cnt = 0;
	g_reset_dma = 0;
	r_index = 0;
	w_index = 0;
	lr_index = 0;
	lw_index = 0;
	g_lost_pkt = 0;
	g_lost_flag = 0;
	g_have_data = 0;
	g_wait_cnt = 0;
	g_sync_ready = 0;
	g_reset_cnt = 0;
	g_dev_id = 0;
	g_sec_cnt = 0;
	g_test_flag = 0;
	g_time_seq = 0;
	g_seq = 0;
	g_cache_len = 0;
	g_led_flash = NO_FLASH;
	g_led_freq = 0;
	g_parse_flag = 0;
	g_umount_flag = 0;
	g_stop_sdcard = 0;
	g_ms_cnt = 0;
	gg_cnt = 0;
	g_file_cnt = 0;
	g_need_reboot = 0;
	g_need_synctime = 0;
	g_pin12_flag = 0;
	g_pin12_cnt = 0;
	g_system_reboot = 0;
	g_start_mount = 0;
	g_mount_cnt = 0;
	g_sdcard_full = 0;
	g_start_cache = 0;
	g_on_bed = 0;
	g_cache_overflow = 0;
	g_need_close_file = 0;
	g_dma_full = 0;

	memset(s_cache, 0, sizeof(s_cache));
	memset(g_pkt_buf, 0, sizeof(g_pkt_buf));
	memset(g_sync_buf, 0, sizeof(g_sync_buf));

	//挂载SD卡
	g_sdcard_ok = 0;
	g_sdcard_ok = MountSDcard();
	if(g_sdcard_ok != 1)
	{
		LedControl(RED_LED, _BRIGHT);
	}
	else
	{
		LedControl(GREEN_LED, _BRIGHT);

		//检查SD卡剩余容量是否足够100M
		CheckFreeSpace();
		if(g_sdcard_full)
		{
			//SendStopPkt();
			printf("sdcard full\r\n");
			LedControl(BLUE_LED, _FLASH);
		}
	}

	//告诉1299可以发数据过来了
	//ActiveLowGpio();

  /* USER CODE END 2 */

  /* Infinite loop */
	while (1)
  {

    /* USER CODE BEGIN 3 */
		if(g_system_reboot)
		{
			//HAL_Delay(1000);
			SystemReboot();
		}

		//处理UART1 DMA中的数据
		if(0)//g_dma_full)
		{
			if(g_reset_dma==1 && g_sdcard_ok==1)
			{
				//if(__DEBUG) for(uint8_t i=0; i<60; i++){printf("%02x ", g_pkt_buf[i]);};printf("\r\n");
				g_data_ready = 1;
				g_reset_cnt = 0;

				if(s_cache[w_index].status == 0)
				{
					if(g_cache_overflow == 1)
					{
						g_cache_overflow = 0;
						printf("cache recovery, index=%d\r\n", r_index);
					}
					memcpy(s_cache[w_index].buf, g_pkt_buf, PKT_LENGTH);
					s_cache[w_index].status = 1;
					if(w_index < CACHE_SIZE-1)
						w_index++;
					else
						w_index = 0;

					//写已经追上读了, 告诉1299开始缓存, stonemm
					if(w_index == r_index)
					{
						printf("w=%d r=%d\r\n", w_index, r_index);
						g_start_cache = 1;
						HAL_GPIO_WritePin(PB10_GPIO_Port, PB10_Pin, GPIO_PIN_RESET); //NOTIFY 1299 STOP SEND
					}
				}
				else //s_cache中的数据还没有处理完，新来的数据要丢掉了
				{
					if(g_cache_overflow == 0)
					{
						g_cache_overflow = 1;
						printf("cache overflow, index=%d\r\n", r_index);
					}
				}
			}

			g_dma_full = 0;
		}

		//假如需要关闭文件
		if(g_need_close_file)
		{
			g_need_close_file = 0;
			if(g_fopen_flag)
			{
				g_fopen_flag = 0;
				printf("f_close file\r\n");
				f_res = f_close(&file);
				if(f_res != FR_OK)
				{
					printf("f_close fail\r\n");
				}
				else
				{
					printf("f_close success\r\n");
				}
			}
		}

		//卸载SD卡
		if(g_umount_flag)// && r_index==w_index)
		{
			g_umount_flag = 0;
			if(g_fopen_flag)
			{
				g_fopen_flag = 0;
				printf("f_close file\r\n");
				f_res = f_close(&file);
				if(f_res != FR_OK)
				{
					printf("f_close fail\r\n");
				}
				else
				{
					printf("f_close success\r\n");
				}
			}
			f_res = f_mount(NULL,"0:",1);
			if(f_res != FR_OK)
			{
				printf("卸载失败!\r\n");
			}
			else
			{
				printf("卸载成功!\r\n");
				g_sdcard_ok = 0;
				HAL_GPIO_WritePin(PB10_GPIO_Port, PB10_Pin, GPIO_PIN_RESET);
			}

			memset(s_cache, 0, sizeof(s_cache));
			r_index = 0;
			w_index = 0;

			//LedControl(BLUE_LED, _BRIGHT); //点亮红灯
			if(g_need_reboot)
			{
				printf("reboot!\r\n");
				SystemReboot();
			}
		}

		//UART2命令，设置时间等
		if(g_sync_ready)
		{
			g_sync_ready = 0;
			ParsePara();
		}

		if(s_cache[r_index].status==1 && g_sdcard_ok==1 && g_sdcard_full==0)
		{
			//printf("r_index=%d\r\n", r_index);
			if(g_led_flash == NO_FLASH)
			{
				g_led_flash = GREEN_LED;
				LedControl(g_led_flash, _FLASH);
			}
			//解析dev_id
			if(g_parse_flag == 0)
			{
//				g_parse_flag = 1;
//				g_dev_id = 168;
				ret = ParseData(s_cache[r_index].buf, PKT_LENGTH);
				if(ret == 0)
					g_parse_flag = 1;
			}

			SaveData();
			s_cache[r_index].status = 0;
			if(r_index < CACHE_SIZE-1)
				r_index++;
			else
				r_index = 0;
			//stonemm
			if(g_start_cache == 1)
			{
					g_start_cache = 0;
					HAL_GPIO_WritePin(PB10_GPIO_Port, PB10_Pin, GPIO_PIN_SET); //NOTIFY 1299 START SEND
			}
		}
	}
  /* USER CODE END 3 */
}

void SystemClock_Config(void)
{
  RCC_OscInitTypeDef RCC_OscInitStruct = {0};
  RCC_ClkInitTypeDef RCC_ClkInitStruct = {0};
  RCC_PeriphCLKInitTypeDef PeriphClkInitStruct = {0};

  /**Configure the main internal regulator output voltage
  */
  __HAL_RCC_PWR_CLK_ENABLE();
  __HAL_PWR_VOLTAGESCALING_CONFIG(PWR_REGULATOR_VOLTAGE_SCALE1);
  /**Initializes the CPU, AHB and APB busses clocks
  */
  RCC_OscInitStruct.OscillatorType = RCC_OSCILLATORTYPE_HSI|RCC_OSCILLATORTYPE_LSI;
  RCC_OscInitStruct.HSIState = RCC_HSI_ON;
  RCC_OscInitStruct.HSICalibrationValue = RCC_HSICALIBRATION_DEFAULT;
  RCC_OscInitStruct.LSIState = RCC_LSI_ON;
  RCC_OscInitStruct.PLL.PLLState = RCC_PLL_ON;
  RCC_OscInitStruct.PLL.PLLSource = RCC_PLLSOURCE_HSI;
  RCC_OscInitStruct.PLL.PLLM = 8;
  RCC_OscInitStruct.PLL.PLLN = 64;
  RCC_OscInitStruct.PLL.PLLP = RCC_PLLP_DIV2;
  RCC_OscInitStruct.PLL.PLLQ = 4;
  RCC_OscInitStruct.PLL.PLLR = 2;
  if (HAL_RCC_OscConfig(&RCC_OscInitStruct) != HAL_OK)
  {
    Error_Handler();
  }
  /**Initializes the CPU, AHB and APB busses clocks
  */
  RCC_ClkInitStruct.ClockType = RCC_CLOCKTYPE_HCLK|RCC_CLOCKTYPE_SYSCLK
                              |RCC_CLOCKTYPE_PCLK1|RCC_CLOCKTYPE_PCLK2;
  RCC_ClkInitStruct.SYSCLKSource = RCC_SYSCLKSOURCE_PLLCLK;
  RCC_ClkInitStruct.AHBCLKDivider = RCC_SYSCLK_DIV1;
  RCC_ClkInitStruct.APB1CLKDivider = RCC_HCLK_DIV2;
  RCC_ClkInitStruct.APB2CLKDivider = RCC_HCLK_DIV1;

  if (HAL_RCC_ClockConfig(&RCC_ClkInitStruct, FLASH_LATENCY_2) != HAL_OK)
  {
    Error_Handler();
  }
  PeriphClkInitStruct.PeriphClockSelection = RCC_PERIPHCLK_RTC|RCC_PERIPHCLK_SDIO
                              |RCC_PERIPHCLK_CLK48;
  PeriphClkInitStruct.RTCClockSelection = RCC_RTCCLKSOURCE_LSI;
  PeriphClkInitStruct.Clk48ClockSelection = RCC_CLK48CLKSOURCE_PLLQ;
  PeriphClkInitStruct.SdioClockSelection = RCC_SDIOCLKSOURCE_CLK48;
  if (HAL_RCCEx_PeriphCLKConfig(&PeriphClkInitStruct) != HAL_OK)
  {
    Error_Handler();
  }
}

/* USER CODE BEGIN 4 */
void HAL_TIM_PeriodElapsedCallback(TIM_HandleTypeDef *htim)
{
	//1ms timer
	if (htim->Instance == htim2.Instance)
	{
		//LED灯控制
		if(g_led_flash != NO_FLASH)
		{
			g_led_freq++;
			if(g_led_freq > LED_FLASH_FREQ)
			{
				g_led_freq = 0;
				LedFlash(g_led_flash);
			}
		}
	}

	//1s timer
	if (htim->Instance == htim3.Instance)
	{
		if(g_start_mount)
		{
			printf("g_mount_cnt=%d\r\n", g_mount_cnt);
			g_mount_cnt++;
			if(g_mount_cnt > 2)
			{
				printf("挂载失败，系统重启\r\n");
				//SendStopPkt();
				SystemReboot();
			}
		}

		if(g_sdcard_ok && !g_sdcard_full)
		{
			//假如持续2秒都没有数据过来则卸载SDCARD
			//防止串口死掉重启
			if(g_data_ready)
			{
				g_sec_cnt++;
				g_reset_cnt++;
				if(g_reset_cnt>5)
				{
					g_cnt = 0;
					g_reset_cnt = 0;
					g_data_ready = 0;
					printf("6s no data received\r\n");
					g_need_close_file = 1;
					LedControl(GREEN_LED, _BRIGHT);
//					if(g_fopen_flag)
//					{
//						printf("fclose file...1\r\n");
//						g_sec_cnt = 0;
//						g_fopen_flag = 0;
//						f_res = f_close(&file);
//						printf("fclose file...2\r\n");
//						if(f_res == FR_OK)
//						{
//							printf("f_close file success!\r\n");
//						}
//						else
//						{
//							printf("f_close file fail!\r\n");
//						}
//						memset(s_cache, 0, sizeof(s_cache));
//						r_index = 0;
//						w_index = 0;
//					}
//					else
//					{
//						printf("g_fopen_flag=0\r\n");
//					}
				}
			}

			//RESET DMA
			g_cnt++;
			if(g_cnt>3 && g_reset_dma==0)
			{
				//stone++ g_test_flag = 1;
				g_reset_dma = 1;
				printf("RESET UART1 DMA, HIGH PB10, IO-0\r\n");
				g_pkt_len = PKT_LENGTH;
				//HAL_UART_DMAStop(&huart1);
#if 1 //stonemm
				//HAL_UART_Receive_DMA(&huart1, (uint8_t *)g_pkt_buf, PKT_LENGTH);
				HAL_UART_Multi_Receive_DMA(&huart1, (uint8_t *)g_pkt_buf, (uint8_t *)g_pkt_buf2, PKT_LENGTH);
#else
				//HAL_UART_Receive_DMA(&huart1, (uint8_t *)g_pkt_buf, 3);
				HAL_UART_Multi_Receive_DMA(&huart1, (uint8_t *)g_pkt_buf, (uint8_t *)g_pkt_buf2, 6);
#endif
				HAL_GPIO_WritePin(PB10_GPIO_Port, PB10_Pin, GPIO_PIN_SET); //NOTIFY 1299 START SEND
			}

			//发送模拟心跳
			if(g_cnt > 10)
			{
				g_cnt = 0;
				//SendStartPkt();
			}
		}
	}
}

void HAL_GPIO_EXTI_Callback(uint16_t GPIO_Pin)
{
	if(GPIO_Pin == GPIO_PIN_15)
	{
		if(g_sdcard_ok == 1)
		{
			g_sdcard_ok = 0;
			printf("PA15 button, 卸载SD卡\r\n");
			LedControl(BLUE_LED, _BRIGHT); //卸载SD卡，点亮蓝灯
			g_umount_flag = 1;
		}
		else
		{
			//printf("PA15 button, SD卡已卸载\r\n");
		}
	}

	//sdcard detect pin
	if(GPIO_Pin == GPIO_PIN_12)
	{
		g_sdcard_ok = 1 - g_sdcard_ok;
		if(g_sdcard_ok == 0)
		{
			//卡被拔出
			printf("SDCard plug-out, sdcard=%d\r\n", g_sdcard_ok);
		}
		else
		{
			//检测到卡插入
			printf("SDCard insert, sdcard=%d, system reboot\r\n", g_sdcard_ok);
		}
		SystemReboot();
	}
}

/**
  * @brief Rx Transfer completed callbacks
  * @param huart: uart handle
  * @retval None
  */
void SaveToCache(int i)
{
	if(g_reset_dma==1 && g_sdcard_ok==1)
	{
		//if(__DEBUG) for(uint8_t i=0; i<60; i++){printf("%02x ", g_pkt_buf[i]);};printf("\r\n");
		g_data_ready = 1;
		g_reset_cnt = 0;

		if(s_cache[w_index].status == 0)
		{
			if(g_cache_overflow == 1)
			{
				g_cache_overflow = 0;
				printf("cache recovery, index=%d\r\n", r_index);
			}

			if(i == 0)
				memcpy(s_cache[w_index].buf, g_pkt_buf, PKT_LENGTH);
			else
				memcpy(s_cache[w_index].buf, g_pkt_buf2, PKT_LENGTH);

			s_cache[w_index].status = 1;
			if(w_index < CACHE_SIZE-1)
				w_index++;
			else
				w_index = 0;

			//写已经追上读了, 告诉1299开始缓存, stonemm
			if(w_index == r_index)
			{
				printf("w=%d r=%d\r\n", w_index, r_index);
				g_start_cache = 1;
				HAL_GPIO_WritePin(PB10_GPIO_Port, PB10_Pin, GPIO_PIN_RESET); //NOTIFY 1299 STOP SEND
			}
		}
		else //s_cache中的数据还没有处理完，新来的数据要丢掉了
		{
			if(g_cache_overflow == 0)
			{
				g_cache_overflow = 1;
				printf("cache overflow, index=%d\r\n", r_index);
			}
		}
	}
}

void HAL_UART_RxCpltCallback(UART_HandleTypeDef *huart)
{
//	int ret;
//	int port;
	//uint8_t data;

  /* Prevent unused argument(s) compilation warning */
  UNUSED(huart);

  /* NOTE : This function should not be modified, when the callback is needed,
            the HAL_UART_RxCpltCallback can be implemented in the user file
   */

	if(huart == &huart1)
	{
#if 0 //stonemm
		//printf("cplt1 %02x %02x\r\n", g_pkt_buf[0], g_pkt_buf[1]);
		printf("cplt1 -> \r\n");
		//sendDataTo_device(&huart2, g_pkt_buf, 13);
#else
//		if(g_dma_full == 0)
//			g_dma_full = 1;
//		else
//			printf("warning: uart1 dma full, lose data\r\n");

		SaveToCache(0);

#endif
	}

	if(huart == &huart2)
	{
		//if(__DEBUG) printf("uart2\r\n");
		g_sync_ready = 1;
	}
}

void HAL_UART_MultiRxCpltCallback(UART_HandleTypeDef *huart)
{
//	int ret;
//	int port;
	//uint8_t data;

  /* Prevent unused argument(s) compilation warning */
  UNUSED(huart);

  /* NOTE : This function should not be modified, when the callback is needed,
            the HAL_UART_RxCpltCallback can be implemented in the user file
   */

	if(huart == &huart1)
	{
#if 0 //stonemm
		//printf("cplt1 %02x %02x\r\n", g_pkt_buf[0], g_pkt_buf[1]);
		printf("cplt2 -> \r\n");
		//sendDataTo_device(&huart2, g_pkt_buf, 13);
//		if(g_dma_full == 0)
//			g_dma_full = 1;
//		else
//			printf("warning: uart1 dma full, lose data\r\n");
#else
		SaveToCache(1);

#endif
	}
}
/* USER CODE END 4 */

void Error_Handler(void)
{
}

/************************ (C) COPYRIGHT STMicroelectronics *****END OF FILE****/
